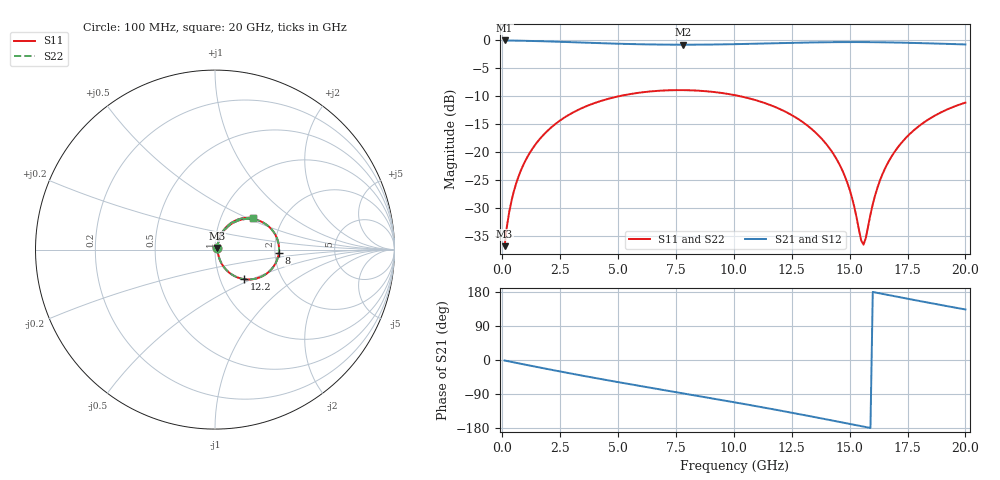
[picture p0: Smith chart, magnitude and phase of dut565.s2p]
! Touchstone file exported from HFSS 2026.1.0
!  File:  C:/ffzhzh/LocalFiles/Ansys_Project_Files/temp_train_TSV_RDL_565_1783116786_46604.aedt
!  Generated:  06:24:16 AM Jul  4, 2026
!  Design:  TSV_RDL
!  Project:  temp_train_TSV_RDL_565_1783116786_46604
! Variables:
!  h_bsmrdl = 5.51um
!  h_ox = 20um
!  h_rdl = 5um
!  h_sub = 55.76um
!  h_tmrdl = 4.85um
!  h_tsv = 55.76um
!  h_via = 3um
!  l_bsmrdl = 396.68um
!  l_sub = 4036.6um
!  l_tmrdl = 573.03um
!  m_sub = 200um
!  pitch = 43.73um
!  r_tsv = 11.36um
!  s_tmrdl = 10um
!  w_bsmrdl = 24.74um
!  w_sub = 500um
!  w_tmrdl = 26.74um
!  x_tsv_center1 = 586.4um
!  x_tsv_center2 = 1007.82um
!  x_tsv_center3 = 1607.59um
!  x_tsv_center4 = 2029.01um
!  x_tsv_center5 = 2628.78um
!  x_tsv_center6 = 3050.2um
# GHz S MA R 50.000000
! Terminal data exported
! Port[1] = TM_RDL1_1_T1
! Port[2] = TM_RDL5_1_T1
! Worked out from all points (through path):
!   200 points, 100 MHz to 20 GHz, reference 50 ohm
!   highest |S21| = -0.09 dB at 100 MHz (marker M1); lowest = -0.9 dB at 7.8 GHz (marker M2)
!   group delay of S21, straight-line fit = 31.1 ps
!   lowest |S11| = -36.8 dB at 100 MHz (marker M3), VSWR 1.03, Z = 51.1 + j0.96 ohm
!   |S11| at or under -10 dB: start of sweep to 5.088 GHz; 10.22 GHz to end of sweep
!   |S22| runs from -36.8 to -9.0 dB; largest |S21 - S12| = 5.6e-14
!   S11 on the Smith chart (normalised r, x): 100 MHz: 1.02, +0.02; 8 GHz: 2.10, -0.08; 12.2 GHz: 1.30, -0.45; 20 GHz: 1.42, +0.54
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0.1  0.01446 40.5  0.9892 -1.3  0.9892 -1.3  0.01446 40.5
! Gamma 0 0 0 0
! Port Impedance 50 0 50 0
0.3  0.02925 61.1  0.9872 -3.8  0.9872 -3.8  0.02925 61.1
0.5  0.04471 66.5  0.9859 -6.3  0.9859 -6.3  0.04471 66.5
1.1  0.09161 67.0  0.9809 -13.6  0.9809 -13.6  0.09161 67.0
2.1  0.1649 58.2  0.9684 -25.6  0.9684 -25.6  0.1649 58.2
3.5  0.2497 43.3  0.9464 -41.8  0.9464 -41.8  0.2497 43.3
5.1  0.3166 26.5  0.9235 -59.4  0.9235 -59.4  0.3166 26.5
6.8  0.3523 9.2  0.909 -77.5  0.909 -77.5  0.3523 9.2
7.8  0.3566 -0.8  0.9065 -88.0  0.9065 -88.0  0.3566 -0.8
8  0.356 -2.8  0.9066 -90.1  0.9066 -90.1  0.356 -2.8
10.1  0.3199 -24.0  0.9171 -112.4  0.9171 -112.4  0.3199 -24.0
12.2  0.2304 -45.6  0.9385 -135.7  0.9385 -135.7  0.2304 -45.5
13.4  0.1578 -57.4  0.9498 -149.6  0.9498 -149.6  0.1579 -57.3
14.1  0.1102 -63.1  0.9544 -157.9  0.9544 -157.9  0.1102 -62.9
14.7  0.06757 -65.0  0.9566 -165.0  0.9566 -165.0  0.06763 -64.8
15.1  0.03926 -60.1  0.957 -169.8  0.957 -169.8  0.03938 -59.7
15.5  0.01625 -20.6  0.9567 -174.6  0.9567 -174.6  0.01654 -20.2
15.6  0.01493 5.5  0.9565 -175.8  0.9565 -175.8  0.01525 5.5
16.2  0.04797 66.7  0.9541 177.1  0.9541 177.1  0.04807 66.3
16.7  0.08336 68.7  0.9507 171.1  0.9507 171.1  0.08341 68.5
18  0.1707 59.2  0.9374 155.9  0.9374 155.9  0.1708 59.1
20  0.276 39.3  0.9116 133.3  0.9116 133.3  0.276 39.2
